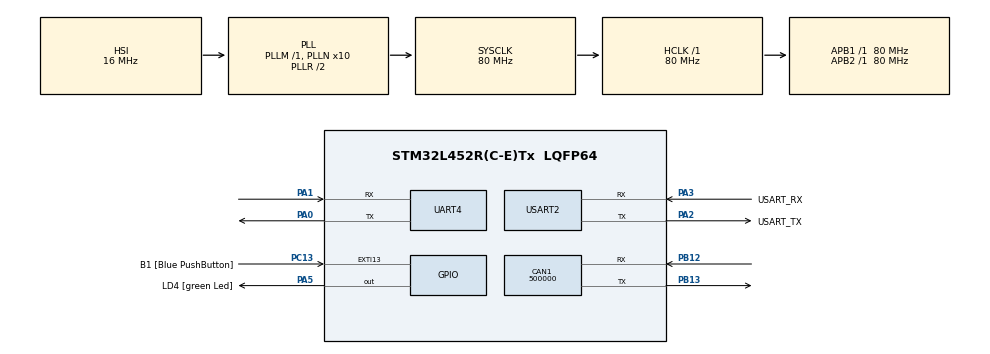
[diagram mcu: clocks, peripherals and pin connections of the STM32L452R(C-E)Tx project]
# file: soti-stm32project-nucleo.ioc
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CAN1.BS1=CAN_BS1_5TQ
CAN1.BS2=CAN_BS2_4TQ
CAN1.CalculateBaudRate=500000
CAN1.CalculateTimeBit=2000
CAN1.CalculateTimeQuantum=200.0
Mcu.Family=STM32L4
Mcu.Name=STM32L452R(C-E)Tx
Mcu.Package=LQFP64
NVIC.CAN1_RX0_IRQn=true\:0\:0\:false\:false\:true\:true\:true\:true
NVIC.PriorityGroup=NVIC_PRIORITYGROUP_4
NVIC.UART4_IRQn=true\:0\:0\:false\:false\:true\:true\:true\:true
NVIC.USART2_IRQn=true\:0\:0\:false\:false\:true\:true\:true\:true
PA0.Mode=Asynchronous
PA0.Signal=UART4_TX
PA1.Mode=Asynchronous
PA1.Signal=UART4_RX
PA13\ (JTMS/SWDIO).GPIO_Label=TMS
PA13\ (JTMS/SWDIO).Mode=Serial_Wire
PA13\ (JTMS/SWDIO).Signal=SYS_JTMS-SWDIO
PA14\ (JTCK/SWCLK).GPIO_Label=TCK
PA14\ (JTCK/SWCLK).Mode=Serial_Wire
PA14\ (JTCK/SWCLK).Signal=SYS_JTCK-SWCLK
PA2.GPIO_Label=USART_TX
PA2.GPIO_Mode=GPIO_MODE_AF_PP
PA2.GPIO_PuPd=GPIO_NOPULL
PA2.GPIO_Speed=GPIO_SPEED_FREQ_VERY_HIGH
PA2.Mode=Asynchronous
PA2.Signal=USART2_TX
PA3.GPIO_Label=USART_RX
PA3.GPIO_Mode=GPIO_MODE_AF_PP
PA3.GPIO_PuPd=GPIO_NOPULL
PA3.GPIO_Speed=GPIO_SPEED_FREQ_VERY_HIGH
PA3.Mode=Asynchronous
PA3.Signal=USART2_RX
PA5.GPIO_Label=LD4 [green Led]
PA5.GPIO_ModeDefaultOutputPP=GPIO_MODE_OUTPUT_PP
PA5.GPIO_PuPd=GPIO_NOPULL
PA5.GPIO_Speed=GPIO_SPEED_FREQ_LOW
PA5.Signal=GPIO_Output
PB12.Mode=CAN_Activate
PB12.Signal=CAN1_RX
PB13.Mode=CAN_Activate
PB13.Signal=CAN1_TX
PB3\ (JTDO/TRACESWO).GPIO_Label=SWO
PB3\ (JTDO/TRACESWO).Signal=SYS_JTDO-SWO
PC13.GPIO_Label=B1 [Blue PushButton]
PC13.GPIO_ModeDefaultEXTI=GPIO_MODE_IT_FALLING
PC13.GPIO_PuPd=GPIO_NOPULL
PC13.Signal=GPXTI13
PC14-OSC32_IN\ (PC14).Mode=LSE-External-Oscillator
PC14-OSC32_IN\ (PC14).Signal=RCC_OSC32_IN
PC15-OSC32_OUT\ (PC15).Mode=LSE-External-Oscillator
PC15-OSC32_OUT\ (PC15).Signal=RCC_OSC32_OUT
PH0-OSC_IN\ (PH0).Signal=RCC_OSC_IN
PH1-OSC_OUT\ (PH1).Signal=RCC_OSC_OUT
ProjectManager.HeapSize=0x200
ProjectManager.StackSize=0x400
ProjectManager.TargetToolchain=STM32CubeIDE
RCC.ADCFreq_Value=64000000
RCC.AHBFreq_Value=80000000
RCC.APB1Freq_Value=80000000
RCC.APB1TimFreq_Value=80000000
RCC.APB2Freq_Value=80000000
RCC.APB2TimFreq_Value=80000000
RCC.CortexFreq_Value=80000000
RCC.HCLKFreq_Value=80000000
RCC.HSE_VALUE=8000000
RCC.HSI48_VALUE=48000000
RCC.HSI_VALUE=16000000
RCC.MSI_VALUE=4000000
RCC.PLLN=10
RCC.PLLSourceVirtual=RCC_PLLSOURCE_HSI
RCC.PREFETCH_ENABLE=1
RCC.SYSCLKFreq_VALUE=80000000
RCC.SYSCLKSource=RCC_SYSCLKSOURCE_PLLCLK
RCC.USBFreq_Value=64000000
RCC.VCOOutputFreq_Value=160000000
USART2.VirtualMode-Asynchronous=VM_ASYNC
board=NUCLEO-L452RE

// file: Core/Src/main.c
/* USER CODE BEGIN Header */
/**
  ******************************************************************************
  * @file           : main.c
  * @brief          : Main program body
  ******************************************************************************
  * @attention
  *
  * Copyright (c) 2023 STMicroelectronics.
  * All rights reserved.
  *
  * This software is licensed under terms that can be found in the LICENSE file
  * in the root directory of this software component.
  * If no LICENSE file comes with this software, it is provided AS-IS.
  *
  ******************************************************************************
  */
/* USER CODE END Header */
#include "main.h"

/* USER CODE BEGIN Includes */
#include "can.h"
#include "can_message_queue.h"
/* USER CODE END Includes */

CAN_HandleTypeDef hcan1;

UART_HandleTypeDef huart4;
UART_HandleTypeDef huart2;

/* USER CODE BEGIN PV */
CANQueue_t satelliteToGroundQueue;
CANQueue_t groundToSatelliteQueue;
uint8_t canRxData[11];
/* USER CODE END PV */

void SystemClock_Config(void);
static void MX_GPIO_Init(void);
static void MX_USART2_UART_Init(void);
static void MX_CAN1_Init(void);
static void MX_UART4_Init(void);
/* USER CODE BEGIN PFP */
void serializeCANMessage( CANMessage_t* message, uint8_t* serializedData);
void deserializeCANMessage( CANMessage_t* messageBuffer, const uint8_t* deserializedData);
/* USER CODE END PFP */

int main(void)
{

  /* MCU Configuration--------------------------------------------------------*/

  /* Reset of all peripherals, Initializes the Flash interface and the Systick. */
  HAL_Init();

  /* Configure the system clock */
  SystemClock_Config();

  /* Initialize all configured peripherals */
  MX_GPIO_Init();
  MX_USART2_UART_Init();
  MX_CAN1_Init();
  MX_UART4_Init();
  /* USER CODE BEGIN 2 */
  CAN_Queue_Init(&satelliteToGroundQueue);
  CAN_Queue_Init(&groundToSatelliteQueue);
  HAL_UART_Receive_IT(&huart2, canRxData, sizeof(canRxData));
  CAN_Init();
  //Turn off green LED
  HAL_GPIO_WritePin(GPIOA, GPIO_PIN_5, GPIO_PIN_RESET);
  /* USER CODE END 2 */

  /* Infinite loop */
  /* USER CODE BEGIN WHILE */
  while (1)
  {
    if (!CAN_Queue_IsEmpty(&satelliteToGroundQueue))
    {
      CANMessage_t receivedData;
      uint8_t serializedData[11];

      //getting message from the queue.
      CAN_Queue_Dequeue(&satelliteToGroundQueue, &receivedData);
      //serializing the CanMessage_t to transfer over UART.
      serializeCANMessage(&receivedData, serializedData);
      //transferring data over UART.
      HAL_UART_Transmit(&huart2, serializedData, sizeof(serializedData), HAL_MAX_DELAY);
    }

    if (!CAN_Queue_IsEmpty(&groundToSatelliteQueue))
    {
      CANMessage_t receivedData;

      //getting message from the queue.
      CAN_Queue_Dequeue(&groundToSatelliteQueue, &receivedData);
      //transferring data over CAN.
      CAN_Transmit_Message(receivedData);
    }
    /* USER CODE END WHILE */

  }
}

void SystemClock_Config(void)
{
  RCC_OscInitTypeDef RCC_OscInitStruct = {0};
  RCC_ClkInitTypeDef RCC_ClkInitStruct = {0};

  /** Configure the main internal regulator output voltage
  */
  if (HAL_PWREx_ControlVoltageScaling(PWR_REGULATOR_VOLTAGE_SCALE1) != HAL_OK)
  {
    Error_Handler();
  }

  /** Initializes the RCC Oscillators according to the specified parameters
  * in the RCC_OscInitTypeDef structure.
  */
  RCC_OscInitStruct.OscillatorType = RCC_OSCILLATORTYPE_HSI;
  RCC_OscInitStruct.HSIState = RCC_HSI_ON;
  RCC_OscInitStruct.HSICalibrationValue = RCC_HSICALIBRATION_DEFAULT;
  RCC_OscInitStruct.PLL.PLLState = RCC_PLL_ON;
  RCC_OscInitStruct.PLL.PLLSource = RCC_PLLSOURCE_HSI;
  RCC_OscInitStruct.PLL.PLLM = 1;
  RCC_OscInitStruct.PLL.PLLN = 10;
  RCC_OscInitStruct.PLL.PLLP = RCC_PLLP_DIV7;
  RCC_OscInitStruct.PLL.PLLQ = RCC_PLLQ_DIV2;
  RCC_OscInitStruct.PLL.PLLR = RCC_PLLR_DIV2;
  if (HAL_RCC_OscConfig(&RCC_OscInitStruct) != HAL_OK)
  {
    Error_Handler();
  }

  /** Initializes the CPU, AHB and APB buses clocks
  */
  RCC_ClkInitStruct.ClockType = RCC_CLOCKTYPE_HCLK|RCC_CLOCKTYPE_SYSCLK
                              |RCC_CLOCKTYPE_PCLK1|RCC_CLOCKTYPE_PCLK2;
  RCC_ClkInitStruct.SYSCLKSource = RCC_SYSCLKSOURCE_PLLCLK;
  RCC_ClkInitStruct.AHBCLKDivider = RCC_SYSCLK_DIV1;
  RCC_ClkInitStruct.APB1CLKDivider = RCC_HCLK_DIV1;
  RCC_ClkInitStruct.APB2CLKDivider = RCC_HCLK_DIV1;

  if (HAL_RCC_ClockConfig(&RCC_ClkInitStruct, FLASH_LATENCY_4) != HAL_OK)
  {
    Error_Handler();
  }
}

static void MX_CAN1_Init(void)
{

  hcan1.Instance = CAN1;
  hcan1.Init.Prescaler = 16;
  hcan1.Init.Mode = CAN_MODE_NORMAL;
  hcan1.Init.SyncJumpWidth = CAN_SJW_1TQ;
  hcan1.Init.TimeSeg1 = CAN_BS1_5TQ;
  hcan1.Init.TimeSeg2 = CAN_BS2_4TQ;
  hcan1.Init.TimeTriggeredMode = DISABLE;
  hcan1.Init.AutoBusOff = DISABLE;
  hcan1.Init.AutoWakeUp = DISABLE;
  hcan1.Init.AutoRetransmission = DISABLE;
  hcan1.Init.ReceiveFifoLocked = DISABLE;
  hcan1.Init.TransmitFifoPriority = DISABLE;
  if (HAL_CAN_Init(&hcan1) != HAL_OK)
  {
    Error_Handler();
  }

}

static void MX_UART4_Init(void)
{

  huart4.Instance = UART4;
  huart4.Init.BaudRate = 115200;
  huart4.Init.WordLength = UART_WORDLENGTH_8B;
  huart4.Init.StopBits = UART_STOPBITS_1;
  huart4.Init.Parity = UART_PARITY_NONE;
  huart4.Init.Mode = UART_MODE_TX_RX;
  huart4.Init.HwFlowCtl = UART_HWCONTROL_NONE;
  huart4.Init.OverSampling = UART_OVERSAMPLING_16;
  huart4.Init.OneBitSampling = UART_ONE_BIT_SAMPLE_DISABLE;
  huart4.AdvancedInit.AdvFeatureInit = UART_ADVFEATURE_NO_INIT;
  if (HAL_UART_Init(&huart4) != HAL_OK)
  {
    Error_Handler();
  }

}

static void MX_USART2_UART_Init(void)
{

  huart2.Instance = USART2;
  huart2.Init.BaudRate = 115200;
  huart2.Init.WordLength = UART_WORDLENGTH_8B;
  huart2.Init.StopBits = UART_STOPBITS_1;
  huart2.Init.Parity = UART_PARITY_NONE;
  huart2.Init.Mode = UART_MODE_TX_RX;
  huart2.Init.HwFlowCtl = UART_HWCONTROL_NONE;
  huart2.Init.OverSampling = UART_OVERSAMPLING_16;
  huart2.Init.OneBitSampling = UART_ONE_BIT_SAMPLE_DISABLE;
  huart2.AdvancedInit.AdvFeatureInit = UART_ADVFEATURE_NO_INIT;
  if (HAL_UART_Init(&huart2) != HAL_OK)
  {
    Error_Handler();
  }

}

static void MX_GPIO_Init(void)
{
  GPIO_InitTypeDef GPIO_InitStruct = {0};

  /* GPIO Ports Clock Enable */
  __HAL_RCC_GPIOC_CLK_ENABLE();
  __HAL_RCC_GPIOH_CLK_ENABLE();
  __HAL_RCC_GPIOA_CLK_ENABLE();
  __HAL_RCC_GPIOB_CLK_ENABLE();

  /*Configure GPIO pin Output Level */
  HAL_GPIO_WritePin(LD4_GPIO_Port, LD4_Pin, GPIO_PIN_RESET);

  /*Configure GPIO pin : B1_Pin */
  GPIO_InitStruct.Pin = B1_Pin;
  GPIO_InitStruct.Mode = GPIO_MODE_IT_FALLING;
  GPIO_InitStruct.Pull = GPIO_NOPULL;
  HAL_GPIO_Init(B1_GPIO_Port, &GPIO_InitStruct);

  /*Configure GPIO pin : LD4_Pin */
  GPIO_InitStruct.Pin = LD4_Pin;
  GPIO_InitStruct.Mode = GPIO_MODE_OUTPUT_PP;
  GPIO_InitStruct.Pull = GPIO_NOPULL;
  GPIO_InitStruct.Speed = GPIO_SPEED_FREQ_LOW;
  HAL_GPIO_Init(LD4_GPIO_Port, &GPIO_InitStruct);

}

/* USER CODE BEGIN 4 */
/**
  * @brief  Rx Fifo 0 message pending callback
  * @param  hcan: pointer to a CAN_HandleTypeDef structure that contains
  *         the configuration information for the specified CAN.
  * @retval None
  */
void HAL_CAN_RxFifo0MsgPendingCallback(CAN_HandleTypeDef *hcan1)
{
  HAL_StatusTypeDef operation_status;
  operation_status = CAN_Message_Received();
  if (operation_status != HAL_OK)
  {
    //Turn on green LED
    HAL_GPIO_WritePin(GPIOA, GPIO_PIN_5, GPIO_PIN_SET);
  }
}

void HAL_UART_RxCpltCallback(UART_HandleTypeDef *huart)
{
  CANMessage_t message;

  deserializeCANMessage(&message, canRxData);

  CAN_Queue_Enqueue(&groundToSatelliteQueue, &message);

  HAL_UART_Receive_IT(&huart2, canRxData, sizeof(canRxData));
}

void serializeCANMessage(CANMessage_t* message, uint8_t* serializedData)
{
  serializedData[0] = message->priority;
  serializedData[1] = message->SenderID;
  serializedData[2] = message->DestinationID;
  serializedData[3] = message->command;

  for (int i = 0; i < 7; i++)
  {
    serializedData[4 + i] = message->data[i];
  }
}

void deserializeCANMessage(CANMessage_t* messageBuffer, const uint8_t* deserializedData)
{
  messageBuffer->priority = deserializedData[0];
  messageBuffer->SenderID = deserializedData[1];
  messageBuffer->DestinationID = deserializedData[2];
  messageBuffer->command = deserializedData[3];

  for (int i = 0; i < 7; i++)
  {
    messageBuffer->data[i] = deserializedData[4 + i];
  }
}
/* USER CODE END 4 */

void Error_Handler(void)
{
  __disable_irq();
  while (1)
  {
  }
}
